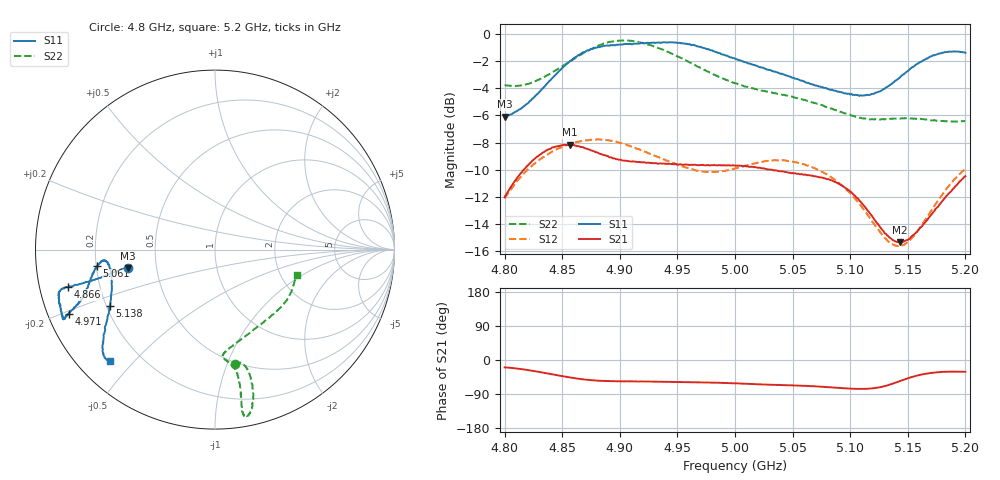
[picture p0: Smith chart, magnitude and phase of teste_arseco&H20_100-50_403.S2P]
! Network Analyzer HP8722D
! Hewlett-Packard
! Data name: Linha & Wilkinson
! Saver's name: Rodrigo Anjos
! Comments: Teste da utilização de aquisição
! continua pelo VNA HP8722D
! Time and date: 6/5/2025 15:55
!  Frequency  S11  S21  S12  S22
# HZ  S  MA R 50
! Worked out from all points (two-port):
!   401 points, 4.8 GHz to 5.2 GHz, reference 50 ohm
!   highest |S21| = -8.17 dB at 4.857 GHz (marker M1); lowest = -15.3 dB at 5.143 GHz (marker M2)
!   |S21| within 3 dB of the highest: 4.806 GHz to 5.093 GHz (286.6 MHz wide, 5.79 % of centre); 5.191959 GHz to end of sweep
!   lowest |S11| = -6.1 dB at 4.8 GHz (marker M3), VSWR 2.97, Z = 17 - j4.61 ohm
!   |S11| at or under -10 dB: nowhere
!   |S22| runs from -6.5 to -0.5 dB; largest |S21 - S12| = 0.62
!   S11 on the Smith chart (normalised r, x): 4.8 GHz: 0.34, -0.09; 4.866 GHz: 0.09, -0.12; 4.971 GHz: 0.06, -0.21; 5.061 GHz: 0.20, -0.07; 5.138 GHz: 0.21, -0.24; 5.2 GHz: 0.10, -0.43
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4.8e9  0.4964 -168.1  0.2509 -19.5  0.2478 -140.6  0.6478 -80.3
4.829e9  0.6027 -166.9  0.3544 -30.9  0.3414 -144.7  0.6772 -75.3
4.857e9  0.7953 -165.7  0.3905 -46.2  0.3932 -150.0  0.7929 -74.7
4.866e9  0.8434 -165.7  0.3836 -50.1  0.4027 -151.6  0.8368 -75.2
4.867e9  0.8483 -165.7  0.3834 -50.6  0.4033 -151.7  0.8421 -75.3
4.898e9  0.9105 -162.8  0.3456 -56.0  0.3988 -156.3  0.9423 -78.7
4.914e9  0.92 -159.4  0.3383 -56.4  0.3788 -157.0  0.9374 -80.1
4.934e9  0.9289 -156.3  0.3331 -57.3  0.3516 -155.5  0.8839 -80.3
4.971e9  0.8911 -156.3  0.329 -59.1  0.3122 -146.4  0.7449 -79.5
5e9  0.811 -158.8  0.3277 -61.7  0.3199 -137.1  0.6577 -81.3
5.036e9  0.7221 -165.5  0.3144 -65.8  0.3423 -134.2  0.6029 -85.7
5.061e9  0.6631 -171.9  0.3035 -68.2  0.3302 -136.1  0.5709 -83.9
5.067e9  0.6521 -172.9  0.3008 -69.0  0.3234 -136.7  0.5592 -82.5
5.084e9  0.6234 -174.4  0.2892 -72.2  0.296 -138.2  0.531 -76.4
5.101e9  0.6007 -172.1  0.2613 -75.7  0.2562 -138.7  0.5009 -66.5
5.115e9  0.5964 -166.0  0.2243 -75.8  0.2161 -135.9  0.4869 -56.6
5.134e9  0.645 -154.2  0.1782 -65.3  0.1711 -120.9  0.4863 -43.4
5.138e9  0.6656 -151.7  0.1735 -61.3  0.1672 -115.8  0.4875 -40.8
5.143e9  0.6891 -149.1  0.1713 -55.9  0.1662 -109.2  0.4878 -38.0
5.154e9  0.7548 -144.4  0.1807 -44.5  0.1787 -95.1  0.488 -32.4
5.172e9  0.834 -138.9  0.2207 -33.5  0.2294 -81.1  0.4807 -24.6
5.2e9  0.851 -133.4  0.2995 -31.2  0.3181 -76.8  0.4769 -17.5
